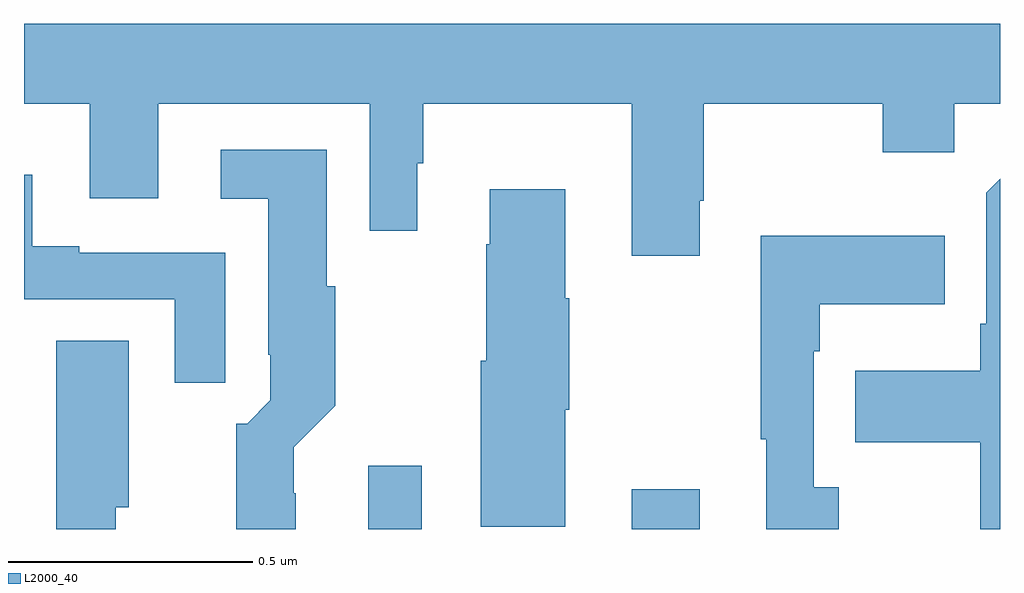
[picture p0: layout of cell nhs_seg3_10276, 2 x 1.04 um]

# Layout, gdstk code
import gdstk
lib = gdstk.Library(unit=1e-6, precision=1e-09)
def R(c, l, rs):  # rectangles x0, y0, x1, y1
    for r in rs: c.add(gdstk.rectangle(r[:2], r[2:], *l))
def P(c, l, *ps):  # polygons
    for p in ps: c.add(gdstk.Polygon(p, *l))
L2000_40 = (2000, 40)

nhs_seg3_10276 = lib.new_cell('nhs_seg3_10276')
R(nhs_seg3_10276, L2000_40, [(239.705,677.4,239.815,677.53), (240.245,677.4,240.385,677.482)])
P(nhs_seg3_10276, L2000_40, [(240.385,678.073),(240.393,678.073),(240.393,678.272),(240.76,678.272),(240.76,678.173),(240.906,678.173),(240.906,678.272),(241,678.272),(241,678.436),(239,678.436),(239,678.272),(239.135,678.272),(239.135,678.078),(239.275,678.078),(239.275,678.272),(239.709,678.272),(239.709,678.012),(239.806,678.012),(239.806,678.15),(239.818,678.15),(239.818,678.272),(240.245,678.272),(240.245,677.961),(240.385,677.961)],
  [(239.557,677.474),(239.553,677.474),(239.553,677.568),(239.638,677.653),(239.638,677.898),(239.62,677.898),(239.62,678.178),(239.403,678.178),(239.403,678.077),(239.501,678.077),(239.501,677.758),(239.505,677.758),(239.505,677.664),(239.457,677.616),(239.435,677.616),(239.435,677.4),(239.557,677.4)],
  [(239.412,677.967),(239.113,677.967),(239.113,677.98),(239.017,677.98),(239.017,678.127),(239,678.127),(239,677.871),(239.309,677.871),(239.309,677.7),(239.412,677.7)],
  [(241,678.118),(240.972,678.09),(240.972,677.821),(240.96,677.821),(240.96,677.725),(240.703,677.725),(240.703,677.578),(240.96,677.578),(240.96,677.4),(241,677.4)],
  [(240.109,677.645),(240.117,677.645),(240.117,677.873),(240.109,677.873),(240.109,678.097),(239.954,678.097),(239.954,677.984),(239.947,677.984),(239.947,677.745),(239.936,677.745),(239.936,677.405),(240.109,677.405)],
  [(240.67,677.486),(240.618,677.486),(240.618,677.765),(240.631,677.765),(240.631,677.861),(240.887,677.861),(240.887,678.001),(240.51,678.001),(240.51,677.585),(240.521,677.585),(240.521,677.4),(240.67,677.4)],
  [(239.188,677.445),(239.215,677.445),(239.215,677.786),(239.066,677.786),(239.066,677.4),(239.188,677.4)])

lib.write_gds('nhs_seg3_10276.gds')
